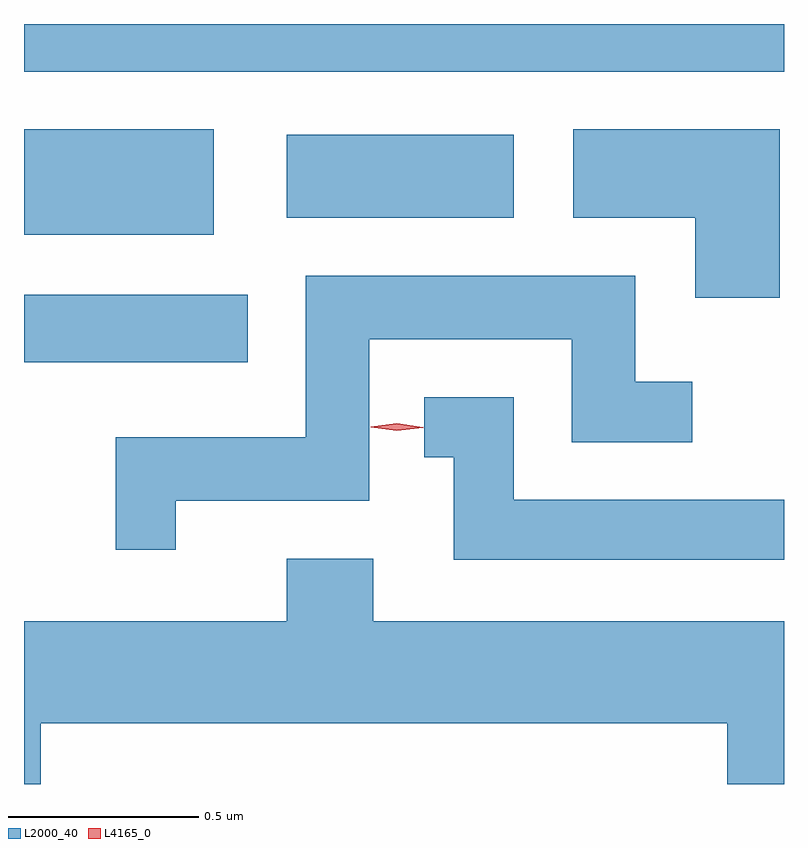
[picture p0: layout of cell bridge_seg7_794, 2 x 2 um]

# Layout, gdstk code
import gdstk
lib = gdstk.Library(unit=1e-6, precision=1e-09)
def R(c, l, rs):  # rectangles x0, y0, x1, y1
    for r in rs: c.add(gdstk.rectangle(r[:2], r[2:], *l))
def P(c, l, *ps):  # polygons
    for p in ps: c.add(gdstk.Polygon(p, *l))
L2000_40 = (2000, 40)
L4165_0 = (4165, 0)

bridge_seg7_794 = lib.new_cell('bridge_seg7_794')
R(bridge_seg7_794, L2000_40, [(415.1,1746.346,415.689,1746.524), (415.1,1746.681,415.599,1746.959), (415.791,1746.726,416.389,1746.944), (415.1,1747.111,417.1,1747.236)])
P(bridge_seg7_794, L2000_40, [(417.089,1746.959),(416.546,1746.959),(416.546,1746.726),(416.866,1746.726),(416.866,1746.516),(417.089,1746.516)],
  [(415.499,1745.981),(416.009,1745.981),(416.009,1746.406),(416.541,1746.406),(416.541,1746.136),(416.858,1746.136),(416.858,1746.294),(416.709,1746.294),(416.709,1746.574),(415.841,1746.574),(415.841,1746.149),(415.341,1746.149),(415.341,1745.853),(415.499,1745.853)],
  [(417.1,1745.984),(416.389,1745.984),(416.389,1746.254),(416.153,1746.254),(416.153,1746.096),(416.231,1746.096),(416.231,1745.826),(417.1,1745.826)],
  [(415.144,1745.396),(416.951,1745.396),(416.951,1745.236),(417.1,1745.236),(417.1,1745.664),(416.019,1745.664),(416.019,1745.829),(415.791,1745.829),(415.791,1745.664),(415.1,1745.664),(415.1,1745.236),(415.144,1745.236)])
P(bridge_seg7_794, L4165_0, [(416.081,1746.165),(416.012,1746.175),(416.012,1746.175),(416.012,1746.176),(416.081,1746.185),(416.151,1746.175),(416.151,1746.175),(416.151,1746.174)])

lib.write_gds('bridge_seg7_794.gds')
